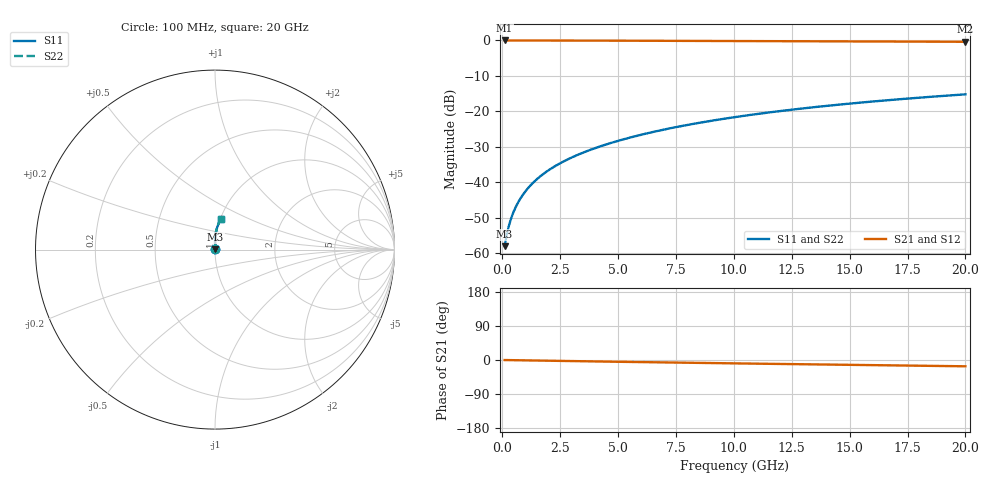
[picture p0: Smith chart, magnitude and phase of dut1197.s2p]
! Touchstone file exported from HFSS 2024.1.0
!  File:  C:/UserFiles/LocalFiles/RDL_TSV_Batchsim/temp_RDL_bottom_1197_1780057868.aedt
!  Generated:  08:33:39 PM May 29, 2026
!  Design:  RDL_bottom
!  Project:  temp_RDL_bottom_1197_1780057868
!  Setup:  Setup1
!  Solution:  Sweep
! Variables:
!  dtsv = 10.80580581um
!  hbump = 3um
!  htsv = 93.33um
!  ldown = 208.73um
!  lrdl = 100um
!  p = 40
!  p1 = 51.48um
!  rhole = 1um
!  t = 450um
!  tdown = 4.02um
!  trdl = 3.915915916um
!  wdown = 24.49um
!  wrdl = 20um
# GHz S MA R 50.000000
! Terminal data exported
! Port[1] = RDL1_T1
! Port[2] = RDL1_T2
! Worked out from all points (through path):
!   200 points, 100 MHz to 20 GHz, reference 50 ohm
!   highest |S21| = -0.01 dB at 100 MHz (marker M1); lowest = -0.4 dB at 20 GHz (marker M2)
!   group delay of S21, straight-line fit = 2.28 ps
!   lowest |S11| = -58.1 dB at 100 MHz (marker M3), VSWR 1.00, Z = 50.1 + j0.0806 ohm
!   |S11| at or under -10 dB: start of sweep to end of sweep
!   |S22| runs from -58.1 to -15.2 dB; largest |S21 - S12| = 3.3e-15
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0.1  0.001249 40.1  0.999 -0.1  0.999 -0.1  0.001249 40.1
! Gamma 0 0 0 0
! Port Impedance 50 0 50 0
0.2  0.001864 57.3  0.999 -0.2  0.999 -0.2  0.001864 57.3
0.3  0.002528 65.5  0.9989 -0.3  0.9989 -0.3  0.002528 65.5
0.4  0.003206 70.4  0.9988 -0.4  0.9988 -0.4  0.003206 70.4
0.5  0.003893 73.8  0.9988 -0.5  0.9988 -0.5  0.003893 73.8
0.6  0.004588 76.2  0.9987 -0.6  0.9987 -0.6  0.004588 76.2
0.8  0.005999 79.6  0.9986 -0.8  0.9986 -0.8  0.005999 79.6
1.1  0.008148 82.6  0.9984 -1.1  0.9984 -1.1  0.008148 82.6
1.5  0.01105 85.0  0.9981 -1.5  0.9981 -1.5  0.01105 85.0
1.8  0.01326 86.1  0.9977 -1.7  0.9977 -1.7  0.01326 86.1
2.1  0.01549 87.0  0.9974 -2.0  0.9974 -2.0  0.01549 87.0
2.7  0.02001 88.2  0.9965 -2.6  0.9965 -2.6  0.02001 88.2
3.5  0.02618 89.3  0.9951 -3.3  0.9951 -3.3  0.02618 89.3
4.2  0.03174 89.8  0.9937 -4.0  0.9937 -4.0  0.03174 89.8
5  0.03827 90.2  0.9919 -4.7  0.9919 -4.7  0.03827 90.2
5.9  0.04584 90.3  0.9898 -5.5  0.9898 -5.5  0.04584 90.3
6.8  0.0536 90.1  0.9876 -6.3  0.9876 -6.3  0.0536 90.1
8.4  0.0678 89.4  0.9837 -7.6  0.9837 -7.6  0.0678 89.4
10.1  0.08326 88.3  0.9796 -9.0  0.9796 -9.0  0.08326 88.3
13.4  0.1137 85.5  0.9719 -11.6  0.9719 -11.6  0.1137 85.5
16.7  0.1439 82.5  0.9646 -14.1  0.9646 -14.1  0.1439 82.5
20  0.1734 79.4  0.9572 -16.6  0.9572 -16.6  0.1734 79.4
